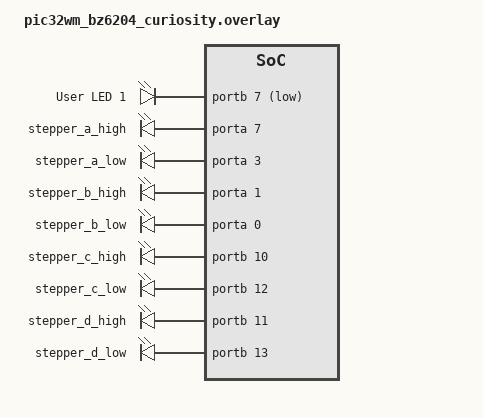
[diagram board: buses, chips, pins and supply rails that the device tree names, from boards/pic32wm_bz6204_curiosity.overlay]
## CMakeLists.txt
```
#
# Copyright (c) 2025 Microchip Technology Inc.
#
# SPDX-License-Identifier: Apache-2.0

cmake_minimum_required(VERSION 3.20.0)
find_package(Zephyr REQUIRED HINTS $ENV{ZEPHYR_BASE})
project(ble_stepper_motor_mppb)

target_sources(app PRIVATE
  src/main.c
  src/app_stepper_motor.c
  src/trs.c
  src/trs_server.c
  )

zephyr_library_include_directories(.)
```

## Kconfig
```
# Copyright (c) 2025 Microchip Technology Inc.
# SPDX-License-Identifier: Apache-2.0

mainmenu "Bluetooth: BLE Stepper Motor MPPB"

config TRS_SERVER_CREDIT
    int "Trs server credits"
    range 6 16
    default 16
    help
      credit value for Transparent Server

config TRS_SERVER_BUF_POOL_SIZE
    int "Trs server buffer pool size"
    range 1 16
    default 4
    help
      set this value based on the credits,maximum connections, 
      max size of the data that will be send over trs server 
      and frequency of data flow

config TRS_SERVER_BUF_DATA_SIZE
    int "Trs server data size for one pool"
    range 20 244
    default 128
    help
      set this value based on the max size of the data 
      that will be send over trs server

config TRS_SERVER_OPCODE_CBFC_ENABLED
    hex "Trs server opcode for CBFC enabled"
    default 0x14
    help
      opcode for CBFC enabled

config TRS_SERVER_OPCODE_CBFC_GIVE_CREDIT
    hex "Trs server opcode for giving credit"
    default 0x15
    help
      opcode for giving credit

config TRS_SERVER_VENDOR_OPCODE_MIN
    hex "Trs server vendor opcode min"
    range 0x20 0xFF
    default 0x20
    help
      minimum value for vendor specific opcodes

source "Kconfig.zephyr"
```

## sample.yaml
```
sample:
  name: BLE 42HS03 Stepper Motor with MPPB
  description: Control a 42HS03 stepper from PIC32WM BZ6204 through the Microchip Multi-Phase Power Board.
  tags: bluetooth pwm gpio motor
tests:
  build:
    platform_allow:
      - pic32wm_bz6204_curiosity/pic32cx2051bz62132
    tags: bluetooth pwm gpio motor
```

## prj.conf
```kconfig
#
# Copyright (c) 2025 Microchip Technology Inc.
#
# SPDX-License-Identifier: Apache-2.0
#
CONFIG_BT=y
CONFIG_LOG=y
CONFIG_BT_SMP=y
CONFIG_BT_PERIPHERAL=y
CONFIG_BT_GATT_CLIENT=y
CONFIG_BT_DEVICE_NAME="Microchip"

CONFIG_GPIO=y
CONFIG_NET_BUF=y

CONFIG_BT_MAX_CONN=1

CONFIG_BT_RX_STACK_SIZE=2048
CONFIG_SYSTEM_WORKQUEUE_STACK_SIZE=2048

CONFIG_BT_L2CAP_TX_MTU=247
CONFIG_BT_BUF_ACL_RX_SIZE=255
CONFIG_BT_BUF_ACL_TX_SIZE=251
CONFIG_BT_BUF_CMD_TX_SIZE=255
CONFIG_BT_L2CAP_TX_BUF_COUNT=10
CONFIG_BT_CONN_TX_MAX=10
CONFIG_BT_ATT_TX_COUNT=10

CONFIG_TRS_SERVER_CREDIT=16
CONFIG_TRS_SERVER_BUF_POOL_SIZE=16
CONFIG_TRS_SERVER_BUF_DATA_SIZE=244
```

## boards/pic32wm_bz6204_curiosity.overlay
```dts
/*
 * MPPB bipolar stepper control for pic32wm_bz6204_curiosity.
 *
 * A/B are winding one; C/D are winding two. Pins 19-22 require extra jumpers.
 */

/ {
	leds {
		compatible = "gpio-leds";
		led3: led_3 {
			gpios = <&portb 7 GPIO_ACTIVE_LOW>;
			label = "User LED 1";
		};
	};

	stepper_outputs {
		compatible = "gpio-leds";
		status = "okay";

		stepper_a_high: stepper_a_high {
			gpios = <&porta 7 GPIO_ACTIVE_HIGH>;
		};
		stepper_a_low: stepper_a_low {
			gpios = <&porta 3 GPIO_ACTIVE_HIGH>;
		};
		stepper_b_high: stepper_b_high {
			gpios = <&porta 1 GPIO_ACTIVE_HIGH>;
		};
		stepper_b_low: stepper_b_low {
			gpios = <&porta 0 GPIO_ACTIVE_HIGH>;
		};
		stepper_c_high: stepper_c_high {
			gpios = <&portb 10 GPIO_ACTIVE_HIGH>;
		};
		stepper_c_low: stepper_c_low {
			gpios = <&portb 12 GPIO_ACTIVE_HIGH>;
		};
		stepper_d_high: stepper_d_high {
			gpios = <&portb 11 GPIO_ACTIVE_HIGH>;
		};
		stepper_d_low: stepper_d_low {
			gpios = <&portb 13 GPIO_ACTIVE_HIGH>;
		};
	};

	aliases {
		led3 = &led3;
		stepper-a-high = &stepper_a_high;
		stepper-a-low = &stepper_a_low;
		stepper-b-high = &stepper_b_high;
		stepper-b-low = &stepper_b_low;
		stepper-c-high = &stepper_c_high;
		stepper-c-low = &stepper_c_low;
		stepper-d-high = &stepper_d_high;
		stepper-d-low = &stepper_d_low;
	};
};

&sercom5 {
	status = "disabled";
};
```

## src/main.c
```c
/*
 * Copyright (c) 2025 Microchip Technology Inc.
 *
 * SPDX-License-Identifier: Apache-2.0
 */
#include <zephyr/types.h>
#include <stddef.h>
#include <string.h>
#include <errno.h>
#include <zephyr/kernel.h>
#include <zephyr/logging/log.h>
#include <zephyr/bluetooth/bluetooth.h>
#include <zephyr/bluetooth/hci.h>
#include <zephyr/bluetooth/conn.h>
#include <zephyr/bluetooth/uuid.h>
#include <zephyr/bluetooth/gatt.h>
#include <zephyr/drivers/uart.h>
#include <zephyr/drivers/gpio.h>
#include "trs_server.h"
#include "app_stepper_motor.h"

LOG_MODULE_REGISTER(main);

#define UART_TX_BUF_SIZE 244
#define RING_BUF_SIZE    512
#define LED_BLINK_INTERVAL_MS 500
#define LED_RX_PULSE_MS 250
#define MODE_BLINK_INTERVAL_MS 120
#define USER_LED_NODE DT_ALIAS(led3)
#define USER_BUTTON_NODE DT_ALIAS(sw0)

/* MBD legacy advertisement name and service data */
#define ADV_NAME "Zephyr_Stepper_Motor"
#define ADV_NAME_LEN (sizeof(ADV_NAME) - 1)

#define UART_DEVICE_NODE DT_CHOSEN(zephyr_shell_uart)

/* incoming events and data from the bluetooth */
static K_FIFO_DEFINE(rx_queue);

#define APP_BUF_POOL_SIZE CONFIG_TRS_SERVER_BUF_POOL_SIZE
#define APP_BUF_DATA_SIZE CONFIG_TRS_SERVER_BUF_DATA_SIZE

NET_BUF_POOL_DEFINE(app_buff_pool, APP_BUF_POOL_SIZE, APP_BUF_DATA_SIZE, 0, NULL);
RING_BUF_DECLARE(rx_ring, RING_BUF_SIZE);

static const struct device *const uart_dev = DEVICE_DT_GET(UART_DEVICE_NODE);
static const struct gpio_dt_spec user_led = GPIO_DT_SPEC_GET(USER_LED_NODE, gpios);
static const struct gpio_dt_spec user_button = GPIO_DT_SPEC_GET(USER_BUTTON_NODE, gpios);
static struct gpio_callback user_button_cb;

static struct bt_conn *ble_conn;
static struct k_work uart_rx_work;
static struct k_work ble_rx_work;
static struct k_work_delayable adv_retry_work;
static struct k_work_delayable led_blink_work;
static struct k_work_delayable led_rx_pulse_work;
static struct k_work mode_button_work;
static struct k_work_delayable mode_blink_work;
static uint8_t mode_blink_count;
static bool advertising_started;
static bool led_state;  /* true = ON, false = OFF */

static struct k_work vendor_work;
static uint8_t vendor_buf[32];
static int vendor_len_global;

/*
 * ── UART accumulation buffer ──
 * Collects bytes from ISR until a delimiter (CR/LF) is seen,
 * then hands off the complete line via a work item.
 */
#define ACCUM_BUF_SIZE 128
static uint8_t accum_buf[ACCUM_BUF_SIZE];
static size_t  accum_pos;
static struct k_work process_line_work;

/* Double-buffer: ISR fills accum_buf, work handler processes line_buf */
static uint8_t line_buf[ACCUM_BUF_SIZE];
static size_t  line_len;

static uint8_t svc_data[] = {
    0xDA, 0xFE,
    (STEPPER_SERVICE_DATA >> 8) & 0xFF,
    STEPPER_SERVICE_DATA & 0xFF
};

static struct bt_data ad[] = {
    BT_DATA_BYTES(BT_DATA_FLAGS, (BT_LE_AD_GENERAL | BT_LE_AD_NO_BREDR)),
    BT_DATA(BT_DATA_SVC_DATA16, svc_data, sizeof(svc_data)),
    BT_DATA(BT_DATA_NAME_COMPLETE, ADV_NAME, ADV_NAME_LEN),
};

/* ──────────────────────────────────────────────
 * Advertising
 * ────────────────────────────────────────────── */
static int start_advertising(void)
{
    int err;

    bt_le_adv_stop();
    err = bt_le_adv_start(BT_LE_ADV_CONN_FAST_1, ad, ARRAY_SIZE(ad), NULL, 0);
    if (err) {
        LOG_ERR("Advertising failed to start (err %d)", err);
        return err;
    }
    LOG_INF("Configuration mode: waiting connections...");
    
    /* Start LED blinking for advertising state */
    led_state = false;
    gpio_pin_set_dt(&user_led, 1);  /* 1 for GPIO_ACTIVE_LOW = LED OFF */
    k_work_schedule(&led_blink_work, K_MSEC(LED_BLINK_INTERVAL_MS));
    
    return 0;
}

static void adv_retry_work_handler(struct k_work *work)
{
    int err = start_advertising();

    if (err == -ENOMEM) {
        k_work_schedule(&adv_retry_work, K_MSEC(200));
    }
}

/* ──────────────────────────────────────────────
 * LED Blink handler (for advertising state)
 * ────────────────────────────────────────────── */
static void led_blink_work_handler(struct k_work *work)
{
    /* Only blink if still in advertising mode (not connected) */
    if (!ble_conn && advertising_started) {
        led_state = !led_state;
        gpio_pin_set_dt(&user_led, led_state ? 0 : 1);  /* Invert for GPIO_ACTIVE_LOW */
        k_work_schedule(&led_blink_work, K_MSEC(LED_BLINK_INTERVAL_MS));
    }
}

static void led_rx_pulse_work_handler(struct k_work *work)
{
    if (ble_conn) {
        led_state = true;
        gpio_pin_set_dt(&user_led, 1);
    }
}

static void user_led_rx_activity(void)
{
    if (ble_conn) {
        led_state = false;
        gpio_pin_set_dt(&user_led, 0);
        k_work_reschedule(&led_rx_pulse_work, K_MSEC(LED_RX_PULSE_MS));
    }
}

static void mode_blink_work_handler(struct k_work *work)
{
    if (mode_blink_count < 4U) {
        gpio_pin_set_dt(&user_led, (mode_blink_count & 1U) ? 1 : 0);
        mode_blink_count++;
        k_work_reschedule(&mode_blink_work, K_MSEC(MODE_BLINK_INTERVAL_MS));
        return;
    }

    gpio_pin_set_dt(&user_led, 1);
    if (!ble_conn && advertising_started) {
        k_work_schedule(&led_blink_work, K_MSEC(LED_BLINK_INTERVAL_MS));
    }
}

static void mode_button_work_handler(struct k_work *work)
{
    bool half_step = app_stepper_motor_toggle_mode();

    LOG_INF("Stepper mode changed to %s", half_step ? "HS" : "FS");
    mode_blink_count = 0U;
    k_work_cancel_delayable(&led_blink_work);
    k_work_reschedule(&mode_blink_work, K_NO_WAIT);

    if (ble_conn != NULL) {
        int ret = app_stepper_motor_send_ui_update(ble_conn);

        if (ret != 0) {
            LOG_ERR("Failed to send mode UI update: %d", ret);
        }
    }
}

static void user_button_handler(const struct device *port,
                                struct gpio_callback *cb, uint32_t pins)
{
    ARG_UNUSED(port);
    ARG_UNUSED(cb);
    ARG_UNUSED(pins);
    k_work_submit(&mode_button_work);
}

/* ──────────────────────────────────────────────
 * Connection callbacks
 * ────────────────────────────────────────────── */
static void connected(struct bt_conn *connected, uint8_t err)
{
    if (err) {
        LOG_ERR("Connection failed (err %u)", err);
    } else {
        LOG_INF("Connected");
        if (!ble_conn) {
            ble_conn = bt_conn_ref(connected);
        }
        /* Cancel blinking and turn LED ON */
        k_work_cancel_delayable(&led_blink_work);
        k_work_cancel_delayable(&led_rx_pulse_work);
        led_state = true;
        gpio_pin_set_dt(&user_led, 1);  /* 1 = LED ON */
        LOG_INF("LED ON (connected)");
    }
}

static void disconnected(struct bt_conn *disconn, uint8_t reason)
{
    app_stepper_motor_disconnect();
    if (ble_conn) {
        bt_conn_unref(ble_conn);
        ble_conn = NULL;
    }
    LOG_INF("Disconnected, reason %u %s", reason, bt_hci_err_to_str(reason));
    
    /* Start blinking again for re-advertising */
    k_work_cancel_delayable(&led_rx_pulse_work);
    led_state = false;
    gpio_pin_set_dt(&user_led, 1);  /* 1 for GPIO_ACTIVE_LOW = LED OFF */
    k_work_schedule(&led_blink_work, K_MSEC(LED_BLINK_INTERVAL_MS));
    
    k_work_schedule(&adv_retry_work, K_MSEC(200));
}

BT_CONN_CB_DEFINE(conn_callbacks) = {
    .connected = connected,
    .disconnected = disconnected,
};

/* ──────────────────────────────────────────────
 * Hex conversion helper
 * ────────────────────────────────────────────── */
static int hex_char_val(uint8_t c)
{
    if (c >= '0' && c <= '9') {
        return c - '0';
    }
    if (c >= 'A' && c <= 'F') {
        return c - 'A' + 10;
    }
    if (c >= 'a' && c <= 'f') {
        return c - 'a' + 10;
    }
    return -1;
}


/**
 * Check if the entire buffer (ignoring whitespace/CR/LF) is valid hex pairs.
 * Returns the number of decoded bytes, or 0 if not valid hex.
 */
static int try_decode_hex(const uint8_t *buf, size_t len, uint8_t *out, size_t out_max)
{
    int count = 0;
    int nibble = -1;

    for (size_t i = 0; i < len; i++) {
        uint8_t c = buf[i];

        /* skip whitespace and delimiters */
        if (c == ' ' || c == '\t' || c == '\r' || c == '\n') {
            continue;
        }

        int val = hex_char_val(c);

        if (val < 0) {
            /* non-hex character found → not a hex command */
            return 0;
        }

        if (nibble < 0) {
            nibble = val;
        } else {
            if ((size_t)count >= out_max) {
                return 0; /* overflow */
            }
            out[count++] = (uint8_t)((nibble << 4) | val);
            nibble = -1;
        }
    }

    /* If there's a leftover nibble, the input wasn't aligned hex pairs */
    if (nibble >= 0) {
        return 0;
    }

    return count;
}

/* ──────────────────────────────────────────────
 * Vendor command work handler (system workqueue)
 * ────────────────────────────────────────────── */
static void vendor_work_handler(struct k_work *work)
{
    if (ble_conn && vendor_len_global > 0) {
        LOG_INF("Vendor TX: opcode=0x%02X, payload_len=%d",
            vendor_buf[0], vendor_len_global - 1);
        LOG_HEXDUMP_INF(vendor_buf, vendor_len_global, "vendor payload");

        int payload_len = (vendor_len_global > 1) ? (vendor_len_global - 1) : 0;
        uint8_t *payload = (vendor_len_global > 1) ? &vendor_buf[1] : NULL;

        int ret = trs_server_send_vendor_command(ble_conn,
                             vendor_buf[0],
                             payload_len,
                             payload);
        if (ret != 0) {
            LOG_ERR("Vendor send failed: %d", ret);
        } else {
            LOG_INF("Vendor command sent successfully (opcode=0x%02X, %d bytes)",
                vendor_buf[0], payload_len);
        }
    }
}

/* ──────────────────────────────────────────────
 * Process a complete UART line (work handler)
 *
 * Decision logic:
 *   a. If the line is valid hex AND first byte == 0x8E → vendor command
 *   b. Otherwise → transparent data (send raw ASCII over data pipe)
 * ────────────────────────────────────────────── */
static void process_line_work_handler(struct k_work *work)
{
    uint8_t local_buf[ACCUM_BUF_SIZE];
    size_t  local_len;

    /* Snapshot under lock (line_buf written from ISR context via
     * accum_buf copy – but actually we copy in ISR, so grab quickly) */
    unsigned int key = irq_lock();
    memcpy(local_buf, line_buf, line_len);
    local_len = line_len;
    irq_unlock(key);

    if (local_len == 0) {
        return;
    }

    LOG_HEXDUMP_DBG(local_buf, local_len, "UART line");

    /* ── Try to decode as hex vendor command ── */
    uint8_t hex_bytes[64];
    int hex_len = try_decode_hex(local_buf, local_len, hex_bytes, sizeof(hex_bytes));

    if (hex_len > 0 && hex_bytes[0] == 0x8E) {
        /* This is a vendor command → send via control pipe */
        if ((size_t)hex_len > sizeof(vendor_buf)) {
            hex_len = sizeof(vendor_buf);
        }
        unsigned int k = irq_lock();
        vendor_len_global = hex_len;
        memcpy(vendor_buf, hex_bytes, hex_len);
        irq_unlock(k);

        k_work_submit(&vendor_work);
        LOG_INF("Vendor command queued (%d bytes)", hex_len);
        return;
    }

    /* ── Regular transparent data → ring buffer → BLE data pipe ── */
    if (!ble_conn) {
        LOG_WRN("No BLE connection, discarding data");
        return;
    }

    /* Strip trailing CR/LF if you want clean data, or keep them – your choice.
     * Here we send everything as-is (raw ASCII). */
    uint8_t *ptr;
    size_t claimed = ring_buf_put_claim(&rx_ring, &ptr, local_len);

    if (claimed > 0) {
        size_t to_store = MIN(claimed, local_len);

        memcpy(ptr, local_buf, to_store);
        ring_buf_put_finish(&rx_ring, to_store);

        if (local_len > to_store) {
            LOG_ERR("Ring buffer overflow, %zu bytes lost",
                local_len - to_store);
        }
        k_work_submit(&uart_rx_work);
    } else {
        ring_buf_put_finish(&rx_ring, 0);
        LOG_ERR("Ring buffer full, dropping %zu bytes", local_len);
    }
}

/* ──────────────────────────────────────────────
 * BLE → UART (data pipe)
 * ────────────────────────────────────────────── */
static void uart_rx_work_handler(struct k_work *work)
{
    uint16_t tx_mtu = 0U;
    size_t bytes_read;

    trs_server_get_tx_mtu(ble_conn, &tx_mtu);

    if (tx_mtu > 0U) {
        uint8_t tx_buff[UART_TX_BUF_SIZE];

        while ((bytes_read = ring_buf_get(&rx_ring,
                          tx_buff, tx_mtu)) > 0) {
            if (trs_server_send_data(ble_conn, bytes_read,
                         tx_buff) < 0) {
                LOG_ERR("Failed to send through BLE");
                ring_buf_reset(&rx_ring);
                break;
            }
        }
    } else {
        ring_buf_reset(&rx_ring);
    }
}

static void ble_rx_work_handler(struct k_work *work)
{
    uint16_t data_len;

    trs_server_get_data_len(ble_conn, &data_len);

    if (data_len > 0) {
        struct net_buf *rec_buf = net_buf_alloc_len(&app_buff_pool,
                                (size_t)data_len,
                                K_FOREVER);
        if (rec_buf == NULL) {
            LOG_ERR("No memory");
            return;
        }

        if (trs_server_get_data(ble_conn,
                    net_buf_add(rec_buf, data_len)) > 0) {
            unsigned int key = irq_lock();
            bool was_empty = k_fifo_is_empty(&rx_queue);

            k_fifo_put(&rx_queue, rec_buf);
            if (was_empty) {
                uart_irq_tx_enable(uart_dev);
            }
            irq_unlock(key);
        } else {
            net_buf_unref(rec_buf);
        }
    }
}

/* ──────────────────────────────────────────────
 * TRS server callback
 * ────────────────────────────────────────────── */
static void trs_server_cb_fn(struct trs_server_event *event)
{
    switch (event->event_id) {
    case TRS_SERVER_EVT_RECEIVE_DATA:
        user_led_rx_activity();
        k_work_submit(&ble_rx_work);
        break;

    case TRS_SERVER_EVT_CBFC_ENABLED:
        LOG_INF("CBFC Rx enabled");
        break;

    case TRS_SERVER_EVT_CBFC_CREDIT:
        LOG_INF("CBFC Tx credit updated");
        break;

    case TRS_SERVER_EVT_VENDOR_CMD: {
        uint8_t *vdata = event->event_field.vendor_cmd.payload;
        uint16_t vlen  = event->event_field.vendor_cmd.length;

        if (vlen > 0 && vdata) {
            user_led_rx_activity();

            if (vdata[0] == STEPPER_OPCODE && ble_conn) {
                LOG_INF("Vendor cmd received size=%u", vlen);
                LOG_HEXDUMP_INF(vdata, vlen, "RX Vendor:");

                int ret = app_stepper_motor_handle_cmd(ble_conn, vdata[0],
                                                    vdata + 1, vlen - 1);
                if (ret != 0) {
                    LOG_ERR("Failed to handle stepper motor command: %d", ret);
                }
            } else {
                LOG_INF("Data received size=%u", vlen);
                LOG_HEXDUMP_INF(vdata, vlen, "RX Data:");

                if (ble_conn) {
                    uint8_t ack_data[UART_TX_BUF_SIZE];
                    const char ack_prefix[] = "data received :";
                    size_t prefix_len = sizeof(ack_prefix) - 1;
                    size_t copy_len = MIN((size_t)vlen, sizeof(ack_data) - prefix_len);

                    memcpy(ack_data, ack_prefix, prefix_len);
                    memcpy(&ack_data[prefix_len], vdata, copy_len);

                    int ack_ret = trs_server_send_data(ble_conn,
                                                       prefix_len + copy_len,
                                                       ack_data);
                    if (ack_ret < 0) {
                        LOG_ERR("Failed to send data acknowledgement: %d", ack_ret);
                    }
                }
            }

            /* Echo to UART/Docklight */
            for (uint16_t i = 0; i < vlen; i++) {
                uart_poll_out(uart_dev, vdata[i]);
            }
        }
        break;
    }

    case TRS_SERVER_EVT_ERR_UNSPECIFIED:
        LOG_ERR("TRS Error: Unspecified");
        break;

    case TRS_SERVER_EVT_ERR_NO_MEM:
        LOG_ERR("TRS Error: No memory");
        break;

    default:
        break;
    }
}

static struct trs_server_cb trs_server_event_cb = {
    .trs_server_event = trs_server_cb_fn,
};

/* ──────────────────────────────────────────────
 * Auth
 * ────────────────────────────────────────────── */
static void auth_cancel(struct bt_conn *conn)
{
    char addr[BT_ADDR_LE_STR_LEN];

    bt_addr_le_to_str(bt_conn_get_dst(conn), addr, sizeof(addr));
    printk("Pairing cancelled: %s\n", addr);
}

static struct bt_conn_auth_cb auth_cb_display = {
    .cancel = auth_cancel,
};

static void bt_ready(int err)
{
    if (err) {
        LOG_ERR("Bluetooth init failed (err %d)", err);
        return;
    }
    LOG_INF("Bluetooth initialized");
    start_advertising();
}

/* ──────────────────────────────────────────────
 * UART ISR – accumulate bytes, dispatch complete
 * lines via work item
 *
 * Delimiter: CR (\r) or LF (\n)
 *
 * For Docklight: make sure your sequences end with
 * CR or LF (or CR+LF). Configure Docklight send
 * sequences accordingly.
 * ────────────────────────────────────────────── */
static void rx_uart_isr(void)
{
    uint8_t tmp[32];
    int n = uart_fifo_read(uart_dev, tmp, sizeof(tmp));

    for (int i = 0; i < n; i++) {
        uint8_t c = tmp[i];

        if (c == '\r' || c == '\n') {
            if (accum_pos > 0) {
                /* Complete line ready – copy to line_buf
                 * and schedule processing */
                memcpy(line_buf, accum_buf, accum_pos);
                line_len = accum_pos;
                accum_pos = 0;
                k_work_submit(&process_line_work);
            }
            /* else: ignore empty lines / consecutive delimiters */
        } else {
            if (accum_pos < ACCUM_BUF_SIZE) {
                accum_buf[accum_pos++] = c;
            } else {
                /* Overflow – discard this line */
                LOG_ERR("Accum buffer overflow, discarding");
                accum_pos = 0;
            }
        }
    }
}

static void tx_uart_data(void)
{
    static struct net_buf *rec_buf;
    int len;

    if (!rec_buf) {
        rec_buf = k_fifo_get(&rx_queue, K_NO_WAIT);
        if (!rec_buf) {
            uart_irq_tx_disable(uart_dev);
            return;
        }
    }

    len = uart_fifo_fill(uart_dev, rec_buf->data, rec_buf->len);
    net_buf_pull(rec_buf, len);

    if (!rec_buf->len) {
        net_buf_unref(rec_buf);
        rec_buf = NULL;
    }
}

static void uart_isr(const struct device *unused, void *user_data)
{
    ARG_UNUSED(unused);
    ARG_UNUSED(user_data);

    while (uart_irq_update(uart_dev) && uart_irq_is_pending(uart_dev)) {
        if (uart_irq_tx_ready(uart_dev)) {
            tx_uart_data();
        }
        if (uart_irq_rx_ready(uart_dev)) {
            rx_uart_isr();
        }
    }
}

static int uart_init(void)
{
    if (!device_is_ready(uart_dev)) {
        return -ENODEV;
    }

    uart_irq_rx_disable(uart_dev);
    uart_irq_tx_disable(uart_dev);
    uart_irq_callback_set(uart_dev, uart_isr);
    uart_irq_rx_enable(uart_dev);

    return 0;
}

/* ──────────────────────────────────────────────
 * Main
 * ────────────────────────────────────────────── */
int main(void)
{
    int err;

    k_work_init(&ble_rx_work, ble_rx_work_handler);
    k_work_init(&uart_rx_work, uart_rx_work_handler);
    k_work_init(&vendor_work, vendor_work_handler);
    k_work_init(&process_line_work, process_line_work_handler);
    k_work_init_delayable(&adv_retry_work, adv_retry_work_handler);
    k_work_init_delayable(&led_blink_work, led_blink_work_handler);
    k_work_init_delayable(&led_rx_pulse_work, led_rx_pulse_work_handler);
    k_work_init(&mode_button_work, mode_button_work_handler);
    k_work_init_delayable(&mode_blink_work, mode_blink_work_handler);
    advertising_started = true;

    LOG_INF("Initializing Bluetooth...");

    err = uart_init();
    if (err) {
        return 0;
    }

    /* Initialize LED GPIO */
    if (!gpio_is_ready_dt(&user_led)) {
        LOG_ERR("LED GPIO device not ready");
        return 0;
    }
    err = gpio_pin_configure_dt(&user_led, GPIO_OUTPUT);
    if (err < 0) {
        LOG_ERR("Failed to configure LED GPIO: %d", err);
        return 0;
    }
    gpio_pin_set_dt(&user_led, 1);  /* Start with LED OFF */
    led_state = false;
    LOG_INF("LED initialized");

    if (!gpio_is_ready_dt(&user_button)) {
        LOG_ERR("User button GPIO device not ready");
        return 0;
    }
    err = gpio_pin_configure_dt(&user_button, GPIO_INPUT);
    if (err != 0) {
        LOG_ERR("Failed to configure user button: %d", err);
        return 0;
    }
    gpio_init_callback(&user_button_cb, user_button_handler, BIT(user_button.pin));
    err = gpio_add_callback(user_button.port, &user_button_cb);
    if (err != 0) {
        LOG_ERR("Failed to add user button callback: %d", err);
        return 0;
    }
    err = gpio_pin_interrupt_configure_dt(&user_button, GPIO_INT_EDGE_TO_ACTIVE);
    if (err != 0) {
        LOG_ERR("Failed to configure user button interrupt: %d", err);
        return 0;
    }
    LOG_INF("User button toggles FS/HS step mode");

    bt_conn_auth_cb_register(&auth_cb_display);

    err = trs_server_cb_register(&trs_server_event_cb);
    if (err) {
        return 0;
    }

    /* Initialize stepper motor BLE module */
    err = app_stepper_motor_init();
    if (err) {
        LOG_ERR("Failed to initialize stepper motor BLE module: %d", err);
        return 0;
    }

    err = bt_enable(bt_ready);
    if (err) {
        LOG_ERR("Bluetooth init failed (err %d)", err);
    }

    return 0;
}
```

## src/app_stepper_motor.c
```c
#include <errno.h>
#include <string.h>
#include <zephyr/kernel.h>
#include <zephyr/device.h>
#include <zephyr/drivers/gpio.h>
#include <zephyr/bluetooth/gatt.h>
#include <zephyr/logging/log.h>

#include "app_stepper_motor.h"
#include "trs_server.h"

LOG_MODULE_REGISTER(app_stepper_motor);

#define PHASE_COUNT 4U
#define MIN_STEP_INTERVAL_MS 1U
#define CONTINUOUS_STEP_INTERVAL_MS 1U
#define STEPPER_WORK_STACK_SIZE 2048U
#define STEPPER_UI_MIN_MTU 35U
#define PHASE_OFF 0xFFU

static const uint8_t hs_high_index[8][2] = {
    {0, 2}, {PHASE_OFF, 2}, {1, 2}, {1, PHASE_OFF},
    {1, 3}, {PHASE_OFF, 3}, {0, 3}, {0, PHASE_OFF},
};
static const uint8_t hs_low_index[8][2] = {
    {1, 3}, {PHASE_OFF, 3}, {0, 3}, {0, PHASE_OFF},
    {0, 2}, {PHASE_OFF, 2}, {1, 2}, {1, PHASE_OFF},
};
static const uint8_t fs_high_index[4][2] = {
    {0, 2}, {1, 2}, {1, 3}, {0, 3},
};
static const uint8_t fs_low_index[4][2] = {
    {1, 3}, {0, 3}, {0, 2}, {1, 2},
};

static const struct gpio_dt_spec drive_high[PHASE_COUNT] = {
    GPIO_DT_SPEC_GET(DT_ALIAS(stepper_a_high), gpios),
    GPIO_DT_SPEC_GET(DT_ALIAS(stepper_b_high), gpios),
    GPIO_DT_SPEC_GET(DT_ALIAS(stepper_c_high), gpios),
    GPIO_DT_SPEC_GET(DT_ALIAS(stepper_d_high), gpios),
};
static const struct gpio_dt_spec drive_low[PHASE_COUNT] = {
    GPIO_DT_SPEC_GET(DT_ALIAS(stepper_a_low), gpios),
    GPIO_DT_SPEC_GET(DT_ALIAS(stepper_b_low), gpios),
    GPIO_DT_SPEC_GET(DT_ALIAS(stepper_c_low), gpios),
    GPIO_DT_SPEC_GET(DT_ALIAS(stepper_d_low), gpios),
};

static struct {
    uint16_t steps;
    uint16_t delay_ms;
    uint16_t active_steps;
    uint16_t active_delay_ms;
    uint16_t remaining;
    int64_t move_start_ms;
    uint8_t direction;
    uint8_t running;
    uint8_t phase;
    uint8_t continuous;
    uint8_t first_step;
    enum app_stepper_mode mode;
    struct bt_conn *conn;
} motor;
static struct k_work_delayable step_work;
static K_MUTEX_DEFINE(motor_lock);
static struct k_work_q motor_work_queue;
static K_THREAD_STACK_DEFINE(motor_work_stack, STEPPER_WORK_STACK_SIZE);
static struct k_work_delayable ui_update_work;
static struct bt_conn *ui_pending_conn;
static void ui_update_work_handler(struct k_work *work);

static int send_frame(struct bt_conn *conn, uint8_t id, const uint8_t *data, size_t len)
{
    uint8_t frame[32] = { (uint8_t)(len + 1U), id };

    if (len > sizeof(frame) - 2U) {
        return -EINVAL;
    }
    if (len != 0U) {
        memcpy(&frame[2], data, len);
    }
    return trs_server_send_vendor_command(conn, STEPPER_OPCODE, len + 2U, frame);
}

static int send_word(struct bt_conn *conn, uint8_t id, uint16_t value)
{
    uint8_t data[] = { (uint8_t)(value >> 8), (uint8_t)value };

    return send_frame(conn, id, data, sizeof(data));
}

static int all_off(void)
{
    int result = 0;

    for (size_t i = 0; i < PHASE_COUNT; i++) {
        int ret = gpio_pin_set_dt(&drive_high[i], 0);

        if (ret != 0) {
            result = ret;
        }
    }
    for (size_t i = 0; i < PHASE_COUNT; i++) {
        int ret = gpio_pin_set_dt(&drive_low[i], 0);

        if (ret != 0) {
            result = ret;
        }
    }
    return result;
}

static void stop_motor(bool notify)
{
    k_mutex_lock(&motor_lock, K_FOREVER);
    k_work_cancel_delayable(&step_work);
    motor.running = STEPPER_STOP;
    motor.remaining = 0U;
    motor.continuous = 0U;
    motor.first_step = 0U;
    if (all_off() != 0) {
        LOG_ERR("Failed to disable stepper bridges");
    }
    if (motor.conn != NULL) {
        if (notify) {
            uint8_t stopped = STEPPER_STOP;

            (void)send_frame(motor.conn, STEPPER_NTF_START_STOP, &stopped, 1U);
        }
        bt_conn_unref(motor.conn);
        motor.conn = NULL;
    }
    k_mutex_unlock(&motor_lock);
}

/* Change only the reversing winding; the other winding stays energized. */
static int apply_phase(uint8_t phase, uint8_t previous_phase, bool starting)
{
    const uint8_t (*high_index)[2] = motor.mode == STEPPER_MODE_HS ?
                                     hs_high_index : fs_high_index;
    const uint8_t (*low_index)[2] = motor.mode == STEPPER_MODE_HS ?
                                    hs_low_index : fs_low_index;
    int ret;

    for (size_t i = 0; i < 2U; i++) {
        if (!starting && high_index[phase][i] == high_index[previous_phase][i]) {
            continue;
        }
        ret = gpio_pin_set_dt(&drive_high[2U * i], 0);
        if (ret == 0) {
            ret = gpio_pin_set_dt(&drive_high[2U * i + 1U], 0);
        }
        if (ret == 0) {
            ret = gpio_pin_set_dt(&drive_low[2U * i], 0);
        }
        if (ret == 0) {
            ret = gpio_pin_set_dt(&drive_low[2U * i + 1U], 0);
        }
        if (ret != 0) {
            (void)all_off();
            return ret;
        }
        k_busy_wait(100);
        if (high_index[phase][i] == PHASE_OFF) {
            continue;
        }
        ret = gpio_pin_set_dt(&drive_low[low_index[phase][i]], 1);
        if (ret != 0) {
            (void)all_off();
            return ret;
        }
        ret = gpio_pin_set_dt(&drive_high[high_index[phase][i]], 1);
        if (ret != 0) {
            (void)all_off();
            return ret;
        }
    }
    return 0;
}

static void step_work_handler(struct k_work *work)
{
    k_mutex_lock(&motor_lock, K_FOREVER);
    if (motor.running != STEPPER_START) {
        k_mutex_unlock(&motor_lock);
        return;
    }
    if (motor.remaining == 0U && motor.continuous == 0U) {
        k_mutex_unlock(&motor_lock);
        stop_motor(true);
        return;
    }
    uint8_t previous_phase = motor.phase;

    uint8_t state_count = motor.mode == STEPPER_MODE_HS ? 8U : 4U;

    motor.phase = (motor.phase + (motor.direction == STEPPER_CW ? 1U :
                                  state_count - 1U)) % state_count;
    if (apply_phase(motor.phase, previous_phase, motor.first_step != 0U) != 0) {
        LOG_ERR("Stepper output error; stopping");
        k_mutex_unlock(&motor_lock);
        stop_motor(true);
        return;
    }
    motor.first_step = 0U;
    if (motor.continuous == 0U) {
        motor.remaining--;
    } else {
        k_work_reschedule_for_queue(&motor_work_queue, &step_work,
                                    K_MSEC(CONTINUOUS_STEP_INTERVAL_MS));
        k_mutex_unlock(&motor_lock);
        return;
    }
    uint32_t completed = (uint32_t)motor.active_steps - motor.remaining;
    int64_t next_due_ms = motor.move_start_ms +
                          (int64_t)completed * motor.active_delay_ms;
    int64_t wait_ms = next_due_ms - k_uptime_get();

    k_work_reschedule_for_queue(&motor_work_queue, &step_work,
                                K_MSEC(MAX(wait_ms, MIN_STEP_INTERVAL_MS)));
    k_mutex_unlock(&motor_lock);
}

int app_stepper_motor_init(void)
{
    memset(&motor, 0, sizeof(motor));
    motor.mode = STEPPER_MODE_FS;
    motor.steps = STEPPER_FS_STEPS_PER_REV;
    motor.delay_ms = STEPPER_DEFAULT_DELAY_MS;
    k_work_init_delayable(&step_work, step_work_handler);
    k_work_init_delayable(&ui_update_work, ui_update_work_handler);
    k_work_queue_start(&motor_work_queue, motor_work_stack,
                       K_THREAD_STACK_SIZEOF(motor_work_stack), 5, NULL);

    for (size_t i = 0; i < PHASE_COUNT; i++) {
        if (!gpio_is_ready_dt(&drive_high[i]) || !gpio_is_ready_dt(&drive_low[i])) {
            return -ENODEV;
        }
        int ret = gpio_pin_configure_dt(&drive_high[i], GPIO_OUTPUT_INACTIVE);

        if (ret != 0) {
            return ret;
        }
        ret = gpio_pin_configure_dt(&drive_low[i], GPIO_OUTPUT_INACTIVE);
        if (ret != 0) {
            return ret;
        }
    }
    return all_off();
}

void app_stepper_motor_disconnect(void)
{
    k_work_cancel_delayable(&ui_update_work);
    k_mutex_lock(&motor_lock, K_FOREVER);
    /* BLE loss must not cancel an active open-loop move. */
    if (motor.conn != NULL) {
        bt_conn_unref(motor.conn);
        motor.conn = NULL;
    }
    if (ui_pending_conn != NULL) {
        bt_conn_unref(ui_pending_conn);
        ui_pending_conn = NULL;
    }
    k_mutex_unlock(&motor_lock);
}

bool app_stepper_motor_toggle_mode(void)
{
    if (motor.running == STEPPER_START) {
        stop_motor(false);
    }
    k_mutex_lock(&motor_lock, K_FOREVER);
    motor.mode = motor.mode == STEPPER_MODE_FS ? STEPPER_MODE_HS : STEPPER_MODE_FS;
    motor.steps = motor.mode == STEPPER_MODE_HS ? STEPPER_HS_STEPS_PER_REV :
                   STEPPER_FS_STEPS_PER_REV;
    motor.phase = 0U;
    k_mutex_unlock(&motor_lock);
    return motor.mode == STEPPER_MODE_HS;
}

enum app_stepper_mode app_stepper_motor_get_mode(void)
{
    return motor.mode;
}

uint16_t app_stepper_motor_get_steps_per_rev(void)
{
    return motor.mode == STEPPER_MODE_HS ? STEPPER_HS_STEPS_PER_REV :
           STEPPER_FS_STEPS_PER_REV;
}

const char *app_stepper_motor_get_ui_name(void)
{
    return motor.mode == STEPPER_MODE_HS ? "Stepper Motor - HS" :
           "Stepper Motor - FS";
}

int app_stepper_motor_send_ui_update(struct bt_conn *conn)
{
    const char *name = app_stepper_motor_get_ui_name();
    uint8_t data[29];
    size_t index = 0U;

    data[index++] = strlen(name);
    memcpy(&data[index], name, strlen(name));
    index += strlen(name);
    data[index++] = 0U;
    data[index++] = STEPPER_SUPPLY_VOLTAGE;
    uint16_t steps_per_rev = app_stepper_motor_get_steps_per_rev();
    data[index++] = (uint8_t)(steps_per_rev >> 8);
    data[index++] = (uint8_t)steps_per_rev;
    data[index++] = (uint8_t)(motor.steps >> 8);
    data[index++] = (uint8_t)motor.steps;
    data[index++] = (uint8_t)(motor.delay_ms >> 8);
    data[index++] = (uint8_t)motor.delay_ms;
    data[index++] = motor.direction;
    data[index++] = motor.running;
    return send_frame(conn, STEPPER_RSP_UI_UPDATE, data, index);
}

static void ui_update_work_handler(struct k_work *work)
{
    k_mutex_lock(&motor_lock, K_FOREVER);
    if (ui_pending_conn != NULL) {
        int ret = bt_gatt_get_mtu(ui_pending_conn) < STEPPER_UI_MIN_MTU ?
                  -EMSGSIZE : app_stepper_motor_send_ui_update(ui_pending_conn);

        if (ret != 0) {
            LOG_ERR("UI update requires ATT MTU >= %u: %d", STEPPER_UI_MIN_MTU, ret);
        }
        bt_conn_unref(ui_pending_conn);
        ui_pending_conn = NULL;
    }
    k_mutex_unlock(&motor_lock);
}

static void mtu_exchange_done(struct bt_conn *conn, uint8_t err,
                              struct bt_gatt_exchange_params *params)
{
    if (err != 0U) {
        LOG_ERR("MTU exchange failed: %u", err);
    }
    k_work_reschedule(&ui_update_work, K_NO_WAIT);
}

static struct bt_gatt_exchange_params mtu_exchange_params = {
    .func = mtu_exchange_done,
};

int app_stepper_motor_handle_cmd(struct bt_conn *conn, uint8_t opcode,
                                  const uint8_t *payload, uint16_t payload_len)
{
    uint8_t id;
    uint16_t value = 0U;
    bool begin_move = false;
    int ret;

    if (opcode != STEPPER_OPCODE || conn == NULL || payload == NULL ||
        payload_len < 2U || payload[0] != payload_len - 1U) {
        return -EINVAL;
    }
    id = payload[1];
    switch (id) {
    case STEPPER_CMD_UI_UPDATE:
        if (payload_len != 2U) {
            return -EINVAL;
        }
        ret = send_frame(conn, STEPPER_ACK_UI_UPDATE, NULL, 0U);
        if (ret != 0) {
            return ret;
        }
        if (bt_gatt_get_mtu(conn) >= STEPPER_UI_MIN_MTU) {
            return app_stepper_motor_send_ui_update(conn);
        }
        k_mutex_lock(&motor_lock, K_FOREVER);
        if (ui_pending_conn != NULL) {
            k_mutex_unlock(&motor_lock);
            return -EBUSY;
        }
        ui_pending_conn = bt_conn_ref(conn);
        k_mutex_unlock(&motor_lock);
        ret = bt_gatt_exchange_mtu(conn, &mtu_exchange_params);
        if (ret != 0) {
            LOG_ERR("Cannot exchange MTU for UI update: %d", ret);
            k_mutex_lock(&motor_lock, K_FOREVER);
            bt_conn_unref(ui_pending_conn);
            ui_pending_conn = NULL;
            k_mutex_unlock(&motor_lock);
        }
        return ret;

    case STEPPER_CMD_STEPS:
    case STEPPER_CMD_DELAY:
        if (payload_len != 4U) {
            return -EINVAL;
        }
        value = ((uint16_t)payload[2] << 8) | payload[3];
        if ((id == STEPPER_CMD_STEPS && value == 0U) ||
            (id == STEPPER_CMD_DELAY && value != 0U &&
             value < MIN_STEP_INTERVAL_MS)) {
            return -EINVAL;
        }
        if (id == STEPPER_CMD_STEPS) {
            motor.steps = value;
        } else {
            motor.delay_ms = value;
        }
        ret = send_frame(conn, id == STEPPER_CMD_STEPS ? STEPPER_ACK_STEPS :
                         STEPPER_ACK_DELAY, NULL, 0U);
        if (ret != 0) {
            return ret;
        }
        ret = send_word(conn, id == STEPPER_CMD_STEPS ? STEPPER_RSP_STEPS :
                        STEPPER_RSP_DELAY, value);
        return ret == 0 ? send_word(conn, id == STEPPER_CMD_STEPS ?
                                    STEPPER_NTF_STEPS : STEPPER_NTF_DELAY, value) : ret;

    case STEPPER_CMD_DIRECTION:
        if (payload_len != 3U || payload[2] > STEPPER_CCW) {
            return -EINVAL;
        }
        bool stopped_for_direction = motor.running == STEPPER_START &&
                                     motor.direction != payload[2];

        if (stopped_for_direction) {
            stop_motor(false);
        }
        motor.direction = payload[2];
        ret = send_frame(conn, STEPPER_ACK_DIRECTION, NULL, 0U);
        if (ret != 0) {
            return ret;
        }
        ret = send_frame(conn, STEPPER_RSP_DIRECTION, &motor.direction, 1U);
        if (ret != 0) {
            return ret;
        }
        ret = send_frame(conn, STEPPER_NTF_DIRECTION, &motor.direction, 1U);
        if (ret != 0 || !stopped_for_direction) {
            return ret;
        }
        uint8_t stopped = STEPPER_STOP;

        return send_frame(conn, STEPPER_NTF_START_STOP, &stopped, 1U);

    case STEPPER_CMD_START_STOP:
        if (payload_len != 3U || payload[2] > STEPPER_START) {
            return -EINVAL;
        }
        if (payload[2] == STEPPER_START && motor.running == STEPPER_STOP) {
            begin_move = true;
        } else if (payload[2] == STEPPER_STOP) {
            stop_motor(false);
        }
        ret = send_frame(conn, STEPPER_ACK_START_STOP, NULL, 0U);
        if (ret != 0) {
            return ret;
        }
        ret = send_frame(conn, STEPPER_RSP_START_STOP, &payload[2], 1U);
        if (ret != 0) {
            return ret;
        }
        ret = send_frame(conn, STEPPER_NTF_START_STOP, &payload[2], 1U);
        if (ret != 0) {
            return ret;
        }
        if (begin_move) {
            motor.move_start_ms = k_uptime_get();
            motor.active_steps = motor.steps;
            motor.continuous = motor.delay_ms == 0U;
            motor.active_delay_ms = motor.continuous != 0U ?
                                    CONTINUOUS_STEP_INTERVAL_MS : motor.delay_ms;
            motor.remaining = motor.active_steps;
            motor.first_step = 1U;
            motor.running = STEPPER_START;
            motor.conn = bt_conn_ref(conn);
            k_work_reschedule_for_queue(&motor_work_queue, &step_work, K_NO_WAIT);
        }
        return 0;
    default:
        return -EINVAL;
    }
}
```

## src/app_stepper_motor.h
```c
#ifndef APP_STEPPER_MOTOR_H
#define APP_STEPPER_MOTOR_H

#include <zephyr/types.h>
#include <zephyr/bluetooth/conn.h>

#define STEPPER_OPCODE               0x8E
#define STEPPER_SERVICE_DATA         0xFFE3
#define STEPPER_SUPPLY_VOLTAGE       6U
#define STEPPER_FS_STEPS_PER_REV     200U
#define STEPPER_HS_STEPS_PER_REV     400U
#define STEPPER_DEFAULT_DELAY_MS     5U

#define STEPPER_CMD_UI_UPDATE        0xA1
#define STEPPER_CMD_DIRECTION        0xA4
#define STEPPER_CMD_START_STOP       0xA5
#define STEPPER_CMD_STEPS            0xA6
#define STEPPER_CMD_DELAY            0xA7

#define STEPPER_RSP_UI_UPDATE        0xB1
#define STEPPER_RSP_DIRECTION        0xB4
#define STEPPER_RSP_START_STOP       0xB5
#define STEPPER_RSP_STEPS            0xB6
#define STEPPER_RSP_DELAY            0xB7

#define STEPPER_NTF_DIRECTION        0xC4
#define STEPPER_NTF_START_STOP       0xC5
#define STEPPER_NTF_STEPS            0xC6
#define STEPPER_NTF_DELAY            0xC7

#define STEPPER_ACK_UI_UPDATE        0xD1
#define STEPPER_ACK_DIRECTION        0xD4
#define STEPPER_ACK_START_STOP       0xD5
#define STEPPER_ACK_STEPS            0xD6
#define STEPPER_ACK_DELAY            0xD7

#define STEPPER_CW                   0U
#define STEPPER_CCW                  1U
#define STEPPER_STOP                 0U
#define STEPPER_START                1U

enum app_stepper_mode {
    STEPPER_MODE_FS = 0,
    STEPPER_MODE_HS = 1,
};

int app_stepper_motor_init(void);
void app_stepper_motor_disconnect(void);
bool app_stepper_motor_toggle_mode(void);
enum app_stepper_mode app_stepper_motor_get_mode(void);
uint16_t app_stepper_motor_get_steps_per_rev(void);
const char *app_stepper_motor_get_ui_name(void);
int app_stepper_motor_send_ui_update(struct bt_conn *conn);
int app_stepper_motor_handle_cmd(struct bt_conn *conn, uint8_t opcode,
                                  const uint8_t *payload, uint16_t payload_len);

#endif
```

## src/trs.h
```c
/*
 * Copyright (c) 2025 Microchip Technology Inc.
 *
 * SPDX-License-Identifier: Apache-2.0
 */

#ifndef TRANSPARENT_SERVICE_H_
#define TRANSPARENT_SERVICE_H_

/**
 * @brief Transparent Service (TRS)
 */
#include <stdint.h>
#include <zephyr/sys/slist.h>
#include <zephyr/bluetooth/uuid.h>

#ifdef __cplusplus
extern "C" {
#endif

/* 128-bit UUIDs for Service and Characteristics */
/**
 *  @brief Transparent Service UUID value
 */
#define BT_UUID_TRS_VAL 0x55,0xE4,0x05,0xD2,0xAF,0x9F,0xA9,0x8F,\
                        0xE5,0x4A,0x7D,0xFE,0x43,0x53,0x53,0x49
/**
 *  @brief TRS Characteristic Tx UUID value
 */
#define BT_UUID_TX_CHAR_VAL 0x16,0x96,0x24,0x47,0xC6,0x23,0x61,0xBA,\
                            0xD9,0x4B,0x4D,0x1E,0x43,0x53,0x53,0x49
/**
 *  @brief TRS Characteristic Rx UUID value
 */
#define BT_UUID_RX_CHAR_VAL 0xB3,0x9B,0x72,0x34,0xBE,0xEC,0xD4,0xA8,\
                            0xF4,0x43,0x41,0x88,0x43,0x53,0x53,0x49
/**
 *  @brief TRS Characteristic Control Point UUID value
 */
#define BT_UUID_CP_CHAR_VAL 0x7E,0x3B,0x07,0xFF,0x1C,0x51,0x49,0x2F,\
                            0xB3,0x39,0x8A,0x4C,0x43,0x53,0x53,0x49

/** @brief Transparent service callback structure */
struct bt_trs_cb {
    /**
     * @brief Transparent Rx write callback
     *
     * @param conn Connection object.
     * @param data Pointer to Attribute data.
     * @param length Attribute value length.
     * @param flags GATT attribute write flags
     *
     * @return 0 on successful handling of Rx Write
     * @return -ENOTSUP if not supported. It can be used to pass handling to other
     *         listeners in case of multiple listeners
     * @return other negative error codes will result in immediate error response
     */
    int (*rx_write)(struct bt_conn *conn, uint8_t* data, uint16_t length, uint8_t flags);

    /**
     * @brief Transparent control point write callback
     *
     * @param conn Connection object.
     * @param data Pointer to Attribute data.
     * @param length Attribute value length.
     * @param flags GATT attribute write flags
     *
     * @return 0 on successful handling of CP Write
     * @return -ENOTSUP if not supported. It can be used to pass handling to other
     *         listeners in case of multiple listeners
     * @return other negative error codes will result in immediate error response
     */
    int (*cp_write)(struct bt_conn *conn, uint8_t* data, uint16_t length, uint8_t flags);

    /**
     * @brief Transparent tx write callback
     *
     * @param conn Connection object.
     * @param data Pointer to Attribute data.
     * @param length Attribute value length.
     * @param flags GATT attribute write flags
     *
     * @return 0 on successful handling of Tx Write
     * @return -ENOTSUP if not supported. It can be used to pass handling to other
     *         listeners in case of multiple listeners
     * @return other negative error codes will result in immediate error response
     */
    int (*tx_write)(struct bt_conn *conn, uint8_t* data, uint16_t length, uint8_t flags);

    /** @brief Tx charcateristic notifications changed
     *
     * @param enabled Flag that is true if notifications were enabled, false
     *                if they were disabled.
     */
    void (*tx_ntf_changed)(bool enabled);

    /** @brief cp charcateristic notifications changed
     *
     * @param enabled Flag that is true if notifications were enabled, false
     *                if they were disabled.
     */
    void (*cp_ntf_changed)(bool enabled);

    /** Internal member to form a list of callbacks */
    sys_snode_t _node;
};

/** @brief Notify transmit data.
 *
 * This will send a GATT notification to specific connection.
 *
 *  @param conn Connection object.
 *  @param data Pointer to Attribute data.
 *  @param len  Attribute value length.
 *
 *  @return Zero in case of success and error code in case of error.
 */
int bt_trs_tx_notify(struct bt_conn *conn, uint8_t* data, uint16_t len);

/** @brief Notify controle point data.
 *
 * This will send a GATT notification to specific connection.
 *
 *  @param conn Connection object.
 *  @param data Pointer to Attribute data.
 *  @param len  Attribute value length.
 *
 *  @return Zero in case of success and error code in case of error.
 */
int bt_trs_cp_notify(struct bt_conn *conn, uint8_t* data, uint16_t len);

/** @brief Get the Tx characteristic client configuration status.
 *
 * This will get the Tx characteristic client configuration status of 
 * a specific connection.
 *
 *  @param conn Connection object.
 *
 *  @return true if the attribute object has been subscribed.
 */
bool bt_trs_tx_ccc_config_status(struct bt_conn *conn);

/** @brief Get the CP characteristic client configuration status.
 *
 * This will get the CP characteristic client configuration status of 
 * a specific connection.
 *
 *  @param conn Connection object.
 *
 *  @return true if the attribute object has been subscribed.
 */
bool bt_trs_cp_ccc_config_status(struct bt_conn *conn);

/** @brief Transparent service callback register
 *
 * This function will register callbacks that will be called in
 * certain events related to Transparent Service.
 *
 * @param cb Pointer to callbacks structure. Must point to memory that remains valid
 * until unregistered.
 *
 * @return 0 on success
 * @return -EINVAL in case @p cb is NULL
 */
int bt_trs_cb_register(struct bt_trs_cb *cb);

/** @brief Transparent service callback unregister
 *
 * This function will unregister callback from Transparent service.
 *
 * @param cb Pointer to callbacks structure
 *
 * @return 0 on success
 * @return -EINVAL in case @p cb is NULL
 * @return -ENOENT in case the @p cb was not found in registered callbacks
 */
int bt_trs_cb_unregister(struct bt_trs_cb *cb);

#ifdef __cplusplus
}
#endif

/**
 * @}
 */

#endif /* TRANSPARENT_SERVICE_H_ */
```
